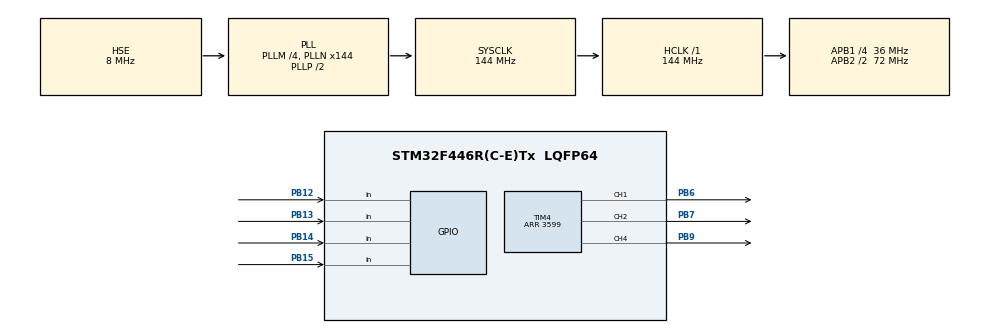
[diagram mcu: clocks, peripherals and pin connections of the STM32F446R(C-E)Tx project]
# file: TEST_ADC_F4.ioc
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Mcu.Family=STM32F4
Mcu.Name=STM32F446R(C-E)Tx
Mcu.Package=LQFP64
NVIC.PriorityGroup=NVIC_PRIORITYGROUP_4
PA13.Mode=Serial_Wire
PA13.Signal=SYS_JTMS-SWDIO
PA14.Mode=Serial_Wire
PA14.Signal=SYS_JTCK-SWCLK
PB12.Signal=GPIO_Input
PB13.Signal=GPIO_Input
PB14.Signal=GPIO_Input
PB15.Signal=GPIO_Input
PB6.Signal=S_TIM4_CH1
PB7.Signal=S_TIM4_CH2
PB9.Signal=S_TIM4_CH4
PH0-OSC_IN.Mode=HSE-External-Oscillator
PH0-OSC_IN.Signal=RCC_OSC_IN
PH1-OSC_OUT.Mode=HSE-External-Oscillator
PH1-OSC_OUT.Signal=RCC_OSC_OUT
ProjectManager.HeapSize=0x200
ProjectManager.StackSize=0x400
ProjectManager.TargetToolchain=CMake
RCC.AHBFreq_Value=144000000
RCC.APB1CLKDivider=RCC_HCLK_DIV4
RCC.APB1Freq_Value=36000000
RCC.APB1TimFreq_Value=72000000
RCC.APB2CLKDivider=RCC_HCLK_DIV2
RCC.APB2Freq_Value=72000000
RCC.APB2TimFreq_Value=144000000
RCC.CortexFreq_Value=144000000
RCC.HCLKFreq_Value=144000000
RCC.HSE_VALUE=8000000
RCC.PLLM=4
RCC.PLLN=144
RCC.PLLSourceVirtual=RCC_PLLSOURCE_HSE
RCC.SYSCLKFreq_VALUE=144000000
RCC.SYSCLKSource=RCC_SYSCLKSOURCE_PLLCLK
RCC.USBFreq_Value=144000000
RCC.VCOOutputFreq_Value=288000000
SH.S_TIM4_CH1.0=TIM4_CH1,PWM Generation1 CH1
SH.S_TIM4_CH2.0=TIM4_CH2,PWM Generation2 CH2
SH.S_TIM4_CH4.0=TIM4_CH4,Output Compare4 CH4
TIM2.AutoReloadPreload=TIM_AUTORELOAD_PRELOAD_ENABLE
TIM2.Channel-Output\ Compare2\ No\ Output=TIM_CHANNEL_2
TIM2.OCMode_2=TIM_OCMODE_TOGGLE
TIM2.Period=600
TIM2.TIM_MasterOutputTrigger=TIM_TRGO_OC2REF
TIM3.AutoReloadPreload=TIM_AUTORELOAD_PRELOAD_ENABLE
TIM3.Period=7199
TIM3.Prescaler=1098
TIM3.TIM_MasterOutputTrigger=TIM_TRGO_UPDATE
TIM4.AutoReloadPreload=TIM_AUTORELOAD_PRELOAD_ENABLE
TIM4.Channel-Output\ Compare4\ CH4=TIM_CHANNEL_4
TIM4.Channel-PWM\ Generation1\ CH1=TIM_CHANNEL_1
TIM4.Channel-PWM\ Generation2\ CH2=TIM_CHANNEL_2
TIM4.OC4Preload=ENABLE
TIM4.OCMode_4=TIM_OCMODE_TOGGLE
TIM4.OCPolarity_1=TIM_OCPOLARITY_LOW
TIM4.OCPolarity_2=TIM_OCPOLARITY_LOW
TIM4.OCPolarity_4=TIM_OCPOLARITY_LOW
TIM4.Period=3599
TIM4.Pulse-Output\ Compare4\ CH4=1
TIM4.Pulse-PWM\ Generation2\ CH2=1
TIM4.TIM_MasterOutputTrigger=TIM_TRGO_OC4REF
VP_TIM2_VS_ClockSourceINT.Mode=Internal
VP_TIM2_VS_ClockSourceITR.Mode=TriggerSource_ITR3
VP_TIM2_VS_ControllerModeTrigger.Mode=Trigger Mode
VP_TIM2_VS_OPM.Mode=OPM_bit
VP_TIM2_VS_no_output2.Mode=Output Compare2 No Output
VP_TIM3_VS_ClockSourceINT.Mode=Internal
VP_TIM4_VS_ClockSourceINT.Mode=Internal
VP_TIM4_VS_ClockSourceITR.Mode=TriggerSource_ITR2
VP_TIM4_VS_ControllerModeTrigger.Mode=Trigger Mode
VP_TIM4_VS_OPM.Mode=OPM_bit
board=custom

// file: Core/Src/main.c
/* USER CODE BEGIN Header */
/**
 ******************************************************************************
 * @file           : main.c
 * @brief          : Main program body
 ******************************************************************************
 * @attention
 *
 * Copyright (c) 2025 STMicroelectronics.
 * All rights reserved.
 *
 * This software is licensed under terms that can be found in the LICENSE file
 * in the root directory of this software component.
 * If no LICENSE file comes with this software, it is provided AS-IS.
 *
 ******************************************************************************
 */
/* USER CODE END Header */
#include "main.h"

/* USER CODE BEGIN PD */
#define ADC_CLOCK_SYNC_PCLK_DIV2 0;
/* USER CODE END PD */

TIM_HandleTypeDef htim2;
TIM_HandleTypeDef htim3;
TIM_HandleTypeDef htim4;

/* USER CODE BEGIN PV */
#define VREFINT_CAL_ADDR 0x1FFF7A2A
uint16_t VREFINT_CAL;
uint16_t vdda;
uint16_t frame[MAX_N_FRAMES * MAX_N_SAMPLES];
uint32_t sum;
uint8_t frame_8int_V[2 * MAX_N_SAMPLES * MAX_N_FRAMES + 4];

uint16_t n_samples = MAX_N_SAMPLES;
uint8_t i = 0;

volatile uint8_t uart5_dma_busy = 0;
volatile uint8_t RxData_i = 0;
volatile uint8_t RxData[256];
volatile uint8_t TxData[256];

uint8_t hello[] = {1, 2, 3, 4, 5, 6, 7, 8, 9};

const uint8_t last_0_1_us[10] = {
    0, 7, 14, 21, 28, 36, 43, 50, 57, 64};
const uint8_t last_0_01_us[10] = {
    0, 0, 1, 2, 2, 3, 4, 5, 5, 6};
/* USER CODE END PV */

void SystemClock_Config(void);
static void MX_GPIO_Init(void);
static void MX_TIM2_Init(void);
static void MX_TIM3_Init(void);
static void MX_TIM4_Init(void);

/* USER CODE BEGIN 0 */
void ADC_init(void)
{
  RCC->APB2ENR |= RCC_APB2ENR_ADC1EN | RCC_APB2ENR_ADC2EN;
  ADC->CCR |= ADC_CLOCK_SYNC_PCLK_DIV2;

  ADC1->CR1 = 0;
  ADC1->CR2 = 0;
  ADC2->CR1 = 0;
  ADC2->CR2 = 0;

  ADC1->SMPR1 = 0;
  ADC1->SMPR2 = 0;
  ADC2->SMPR1 = 0;
  ADC2->SMPR2 = 0;

  ADC1->SQR1 = 0;
  ADC1->SQR2 = 0;
  ADC1->SQR3 = 0;
  ADC2->SQR1 = 0;
  ADC2->SQR2 = 0;
  ADC2->SQR3 = 0;
  ADC2->SMPR1 = ADC_SMPR1_SMP10_2 | ADC_SMPR1_SMP11_2 | ADC_SMPR1_SMP12_2 | ADC_SMPR1_SMP13_2;
  ADC2->SMPR2 = ADC_SMPR2_SMP5_2 | ADC_SMPR2_SMP6_2 | ADC_SMPR2_SMP7_2 | ADC_SMPR2_SMP8_2 | ADC_SMPR2_SMP9_2;

  ADC->CCR |= ADC_CCR_TSVREFE;
  ADC1->CR2 |= ADC_CR2_EOCS;
  ADC2->CR2 |= ADC_CR2_EOCS;
}
void DMA_Init(void)
{
  RCC->AHB1ENR |= RCC_AHB1ENR_DMA2EN | RCC_AHB1ENR_DMA1EN;
  // DMA для ADC1
  DMA2_Stream0->PAR = ADC1_BASE + 0x4C;
  DMA2_Stream0->M0AR = (uint32_t)frame;
  DMA2_Stream0->NDTR = n_samples;
  DMA2_Stream0->CR = 0;

  DMA2_Stream0->CR |= DMA_PRIORITY_VERY_HIGH;
  DMA2_Stream0->FCR = 0;

  DMA2_Stream0->CR |= DMA_SxCR_MSIZE_0   // 16‑бит в памяти
                      | DMA_SxCR_PSIZE_0 // 16‑бит на периферии
                      | DMA_SxCR_MINC    // инкремент адреса памяти
                      | DMA_SxCR_TCIE;   // прерывание по завершению

  // DMA для UART5
  DMA1_Stream7->PAR = UART5_BASE + 0x04;
  DMA1_Stream7->FCR = 0;
  DMA1_Stream7->CR = DMA_SxCR_CHSEL_2 | DMA_SxCR_MINC | DMA_SxCR_TCIE | DMA_SxCR_DIR_0;

  NVIC_SetPriority(DMA2_Stream0_IRQn, 0);
  NVIC_SetPriority(DMA1_Stream7_IRQn, 0);

  NVIC_EnableIRQ(DMA2_Stream0_IRQn);
  NVIC_EnableIRQ(DMA1_Stream7_IRQn);
}
void UART5_Init(void)
{
  RCC->APB1ENR |= RCC_APB1ENR_UART5EN;
  UART5->CR1 |= USART_CR1_RE | USART_CR1_TE | USART_CR1_UE | USART_CR1_OVER8;
  UART5->CR3 |= USART_CR3_DMAT | USART_CR3_ONEBIT;
  UART5->BRR = 0x30;

  NVIC_SetPriority(UART5_IRQn, 2);
  NVIC_EnableIRQ(UART5_IRQn);
}

void MeasureVDD()
{
  ADC1->CR2 &= ~ADC_CR2_CONT;
  ADC1->SQR3 = 17;
  ADC1->CR1 &= ~3 << 24;
  ADC1->CR2 &= ~(ADC_CR2_EXTSEL_1 | ADC_CR2_EXTSEL_0);
  ADC1->DR;
  ADC1->SR = 0;
  // HAL_Delay(1);
  ADC1->CR2 |= ADC_CR2_SWSTART;
  while (!(ADC1->SR & ADC_SR_EOC))
    ;
  uint16_t raw_vrefint = ADC1->DR;
  vdda = (3300 * VREFINT_CAL) / raw_vrefint;

  ADC1->CR1 |= 1 << 24;
  ADC1->SQR3 = usRegHoldingBuf[2];
  ADC1->CR2 |= ADC_CR2_EXTSEL_1 | ADC_CR2_EXTSEL_0;
  ADC1->CR2 |= ADC_CR2_CONT;
  ADC1->SR = 0;
}
void PrepareADC()
{
  memset(frame, 0, MAX_N_FRAMES * MAX_N_SAMPLES);
  memset(frame_8int_V, 0, 2 * MAX_N_FRAMES * MAX_N_SAMPLES + 4);
  MeasureVDD();
  TIM2->ARR = 100;
}
uint16_t ReadChannel(uint8_t channel)
{
  ADC2->SQR3 = channel;
  ADC2->CR2 |= ADC_CR2_SWSTART;
  while (!(ADC2->SR & ADC_SR_EOC))
    ;
  return ADC2->DR;
}
void UpdateValuesMB()
{
  uint16_t idr = GPIOB->IDR;
  uint8_t new_bits =
      ((idr >> 12) & 0x01) << 0 | /* PB12 → bit0 */
      ((idr >> 13) & 0x01) << 1 | /* PB13 → bit1 */
      ((idr >> 14) & 0x01) << 2 | /* PB14 → bit2 */
      ((idr >> 15) & 0x01) << 3 | /* PB15 → bit3 */
      ((idr >> 4) & 0x01) << 4;   /* PB4  → bit4 */
  if ((usDiscreteBuf[0] & 0x1F) != new_bits)
  {
    usDiscreteBuf[0] = (usDiscreteBuf[0] & ~0x1F) | new_bits;
  }
  for (uint8_t i = 5; i < 14; i++)
  {
    sum = 0;
    for (uint8_t j = 0; j < 10; j++)
    {
      sum += ReadChannel(i);
    }
    usRegInputBuf[i - 5] = vdda * (sum / 10) / 0xFFF;
  }
}

void UART5_Transmit_DMA_Blocking(uint8_t *data, uint16_t size)
{

  while (uart5_dma_busy)
    ;
  DMA1_Stream7->CR &= ~DMA_SxCR_EN;
  while (DMA1_Stream7->CR & DMA_SxCR_EN)
    ;
  DMA1_Stream7->M0AR = (uint32_t)data;
  DMA1_Stream7->NDTR = size;
  uart5_dma_busy = 1;
  DMA1_Stream7->CR |= DMA_SxCR_EN;
  while (!(DMA1_Stream7->CR & DMA_SxCR_EN))
    ;
}
void UART5_ReceiveToIdle_IT()
{
  UART5->CR1 |= USART_CR1_RXNEIE;
}
void UART5_Transmition_Handler()
{
  if (RxData[0] == SLAVE_ID)
  {
    switch (RxData[1])
    {
    case 0x03:
      readHoldingRegs();
      break;
    case 0x04:
      UpdateValuesMB();
      readInputRegs();
      break;
    case 0x01:
      readCoils();
      break;
    case 0x02:
      readInputs();
      break;
    case 0x06:
      writeSingleReg();
      break;
    case 0x10:
      writeHoldingRegs();
      break;
    case 0x05:
      writeSingleCoil();
      break;
    case 0x0F:
      writeMultiCoils();
      break;
    default:
      modbusException(ILLEGAL_FUNCTION);
      break;
    }
  }
  RxData_i = 0;
}
/* USER CODE END 0 */

int main(void)
{

  /* MCU Configuration--------------------------------------------------------*/

  /* Reset of all peripherals, Initializes the Flash interface and the Systick. */
  HAL_Init();

  /* Configure the system clock */
  SystemClock_Config();

  /* Initialize all configured peripherals */
  MX_GPIO_Init();
  MX_TIM2_Init();
  MX_TIM3_Init();
  MX_TIM4_Init();
  /* USER CODE BEGIN 2 */
  VREFINT_CAL = *(uint16_t *)VREFINT_CAL_ADDR;
  DMA_Init();
  ADC_init();
  UART5_Init();
  ADC1->CR2 |= ADC_CR2_ADON;
  ADC2->CR2 |= ADC_CR2_ADON;
  HAL_Delay(1);

  // заупск таймера TIM2 + OC 2 CHANNEL
  TIM2->CNT = 0;
  TIM2->CCR2 = 1;
  TIM2->CCER |= TIM_CCER_CC2E;

  MeasureVDD();
  usRegHoldingBuf[0] = 100;
  usRegHoldingBuf[1] = 30;
  usCoilsBuf[0] = 1;
  usRegHoldingBuf[2] = 1;
  usRegHoldingBuf[3] = 4;
  usRegHoldingBuf[5] = 1;
  SetPulse();
  SetHZ();
  StartTimers();
  UART5_ReceiveToIdle_IT();
  /* USER CODE END 2 */

  /* Infinite loop */
  /* USER CODE BEGIN WHILE */
  while (1)
  {
    if (usCoilsBuf[0] & 0x02 && usCoilsBuf[0] & 0x01)
    {
      usDiscreteBuf[0] |= 0x20;
      while (usCoilsBuf[0] & 0x02 && usCoilsBuf[0] & 0x01)
      {
        i = 0;
        TIM2->CCR2 = 1;
        ADC1->CR2 &= ~ADC_CR2_DMA;
        DMA2_Stream0->CR &= ~DMA_SxCR_EN;
        while (DMA2_Stream0->CR & DMA_SxCR_EN)
          ;
        DMA2_Stream0->M0AR = (uint32_t)(frame);
        ADC1->SQR3 = usRegHoldingBuf[2];
        n_samples = usRegHoldingBuf[3];
        frame_8int_V[0] = 0xAA;
        frame_8int_V[1] = 0x55;
        frame_8int_V[2 * MAX_N_FRAMES * n_samples + 2] = 0x55;
        frame_8int_V[2 * MAX_N_FRAMES * n_samples + 3] = 0xAA;
        DMA2_Stream0->NDTR = n_samples;
        DMA2->LIFCR = DMA_LIFCR_CTCIF0 | DMA_LIFCR_CHTIF0 | DMA_LIFCR_CTEIF0;
        DMA2_Stream0->CR |= DMA_SxCR_EN;
        while (!(DMA2_Stream0->CR & DMA_SxCR_EN))
          ;
        ADC1->SR = 0;
        ADC1->CR2 |= ADC_CR2_DMA;
        ADC1->CR2 |= ADC_CR2_EXTEN;

        while (i < MAX_N_FRAMES && usCoilsBuf[0] & 0x02 && usCoilsBuf[0] & 0x01)
          ;
        if (usCoilsBuf[0] & 0x02 && usCoilsBuf[0] & 0x01)
        {
          for (uint16_t i = 0; i < MAX_N_FRAMES * n_samples; i++)
          {
            uint16_t word = vdda * frame[i] / 1024;
            frame_8int_V[2 + 2 * i] = (uint8_t)(word & 0xFF);
            frame_8int_V[2 + 2 * i + 1] = (uint8_t)((word >> 8) & 0xFF);
          }
          UART5_Transmit_DMA_Blocking(frame_8int_V, 2 * MAX_N_FRAMES * n_samples + 4);
        }
      }
      usDiscreteBuf[0] &= ~0x20;
    }
  }
  /* USER CODE END WHILE */

}

void SystemClock_Config(void)
{
  RCC_OscInitTypeDef RCC_OscInitStruct = {0};
  RCC_ClkInitTypeDef RCC_ClkInitStruct = {0};

  /** Configure the main internal regulator output voltage
   */
  __HAL_RCC_PWR_CLK_ENABLE();
  __HAL_PWR_VOLTAGESCALING_CONFIG(PWR_REGULATOR_VOLTAGE_SCALE1);

  /** Initializes the RCC Oscillators according to the specified parameters
   * in the RCC_OscInitTypeDef structure.
   */
  RCC_OscInitStruct.OscillatorType = RCC_OSCILLATORTYPE_HSE;
  RCC_OscInitStruct.HSEState = RCC_HSE_ON;
  RCC_OscInitStruct.PLL.PLLState = RCC_PLL_ON;
  RCC_OscInitStruct.PLL.PLLSource = RCC_PLLSOURCE_HSE;
  RCC_OscInitStruct.PLL.PLLM = 4;
  RCC_OscInitStruct.PLL.PLLN = 144;
  RCC_OscInitStruct.PLL.PLLP = RCC_PLLP_DIV2;
  RCC_OscInitStruct.PLL.PLLQ = 2;
  RCC_OscInitStruct.PLL.PLLR = 2;
  if (HAL_RCC_OscConfig(&RCC_OscInitStruct) != HAL_OK)
  {
    Error_Handler();
  }

  /** Initializes the CPU, AHB and APB buses clocks
   */
  RCC_ClkInitStruct.ClockType = RCC_CLOCKTYPE_HCLK | RCC_CLOCKTYPE_SYSCLK | RCC_CLOCKTYPE_PCLK1 | RCC_CLOCKTYPE_PCLK2;
  RCC_ClkInitStruct.SYSCLKSource = RCC_SYSCLKSOURCE_PLLCLK;
  RCC_ClkInitStruct.AHBCLKDivider = RCC_SYSCLK_DIV1;
  RCC_ClkInitStruct.APB1CLKDivider = RCC_HCLK_DIV4;
  RCC_ClkInitStruct.APB2CLKDivider = RCC_HCLK_DIV2;

  if (HAL_RCC_ClockConfig(&RCC_ClkInitStruct, FLASH_LATENCY_4) != HAL_OK)
  {
    Error_Handler();
  }
}

static void MX_TIM2_Init(void)
{

  TIM_ClockConfigTypeDef sClockSourceConfig = {0};
  TIM_SlaveConfigTypeDef sSlaveConfig = {0};
  TIM_MasterConfigTypeDef sMasterConfig = {0};
  TIM_OC_InitTypeDef sConfigOC = {0};

  htim2.Instance = TIM2;
  htim2.Init.Prescaler = 0;
  htim2.Init.CounterMode = TIM_COUNTERMODE_UP;
  htim2.Init.Period = 600;
  htim2.Init.ClockDivision = TIM_CLOCKDIVISION_DIV1;
  htim2.Init.AutoReloadPreload = TIM_AUTORELOAD_PRELOAD_ENABLE;
  if (HAL_TIM_Base_Init(&htim2) != HAL_OK)
  {
    Error_Handler();
  }
  sClockSourceConfig.ClockSource = TIM_CLOCKSOURCE_INTERNAL;
  if (HAL_TIM_ConfigClockSource(&htim2, &sClockSourceConfig) != HAL_OK)
  {
    Error_Handler();
  }
  if (HAL_TIM_OC_Init(&htim2) != HAL_OK)
  {
    Error_Handler();
  }
  if (HAL_TIM_OnePulse_Init(&htim2, TIM_OPMODE_SINGLE) != HAL_OK)
  {
    Error_Handler();
  }
  sSlaveConfig.SlaveMode = TIM_SLAVEMODE_TRIGGER;
  sSlaveConfig.InputTrigger = TIM_TS_ITR3;
  if (HAL_TIM_SlaveConfigSynchro(&htim2, &sSlaveConfig) != HAL_OK)
  {
    Error_Handler();
  }
  sMasterConfig.MasterOutputTrigger = TIM_TRGO_OC2REF;
  sMasterConfig.MasterSlaveMode = TIM_MASTERSLAVEMODE_DISABLE;
  if (HAL_TIMEx_MasterConfigSynchronization(&htim2, &sMasterConfig) != HAL_OK)
  {
    Error_Handler();
  }
  sConfigOC.OCMode = TIM_OCMODE_TOGGLE;
  sConfigOC.Pulse = 0;
  sConfigOC.OCPolarity = TIM_OCPOLARITY_HIGH;
  sConfigOC.OCFastMode = TIM_OCFAST_DISABLE;
  if (HAL_TIM_OC_ConfigChannel(&htim2, &sConfigOC, TIM_CHANNEL_2) != HAL_OK)
  {
    Error_Handler();
  }
}

static void MX_TIM3_Init(void)
{

  TIM_ClockConfigTypeDef sClockSourceConfig = {0};
  TIM_MasterConfigTypeDef sMasterConfig = {0};

  htim3.Instance = TIM3;
  htim3.Init.Prescaler = 1098;
  htim3.Init.CounterMode = TIM_COUNTERMODE_UP;
  htim3.Init.Period = 7199;
  htim3.Init.ClockDivision = TIM_CLOCKDIVISION_DIV1;
  htim3.Init.AutoReloadPreload = TIM_AUTORELOAD_PRELOAD_ENABLE;
  if (HAL_TIM_Base_Init(&htim3) != HAL_OK)
  {
    Error_Handler();
  }
  sClockSourceConfig.ClockSource = TIM_CLOCKSOURCE_INTERNAL;
  if (HAL_TIM_ConfigClockSource(&htim3, &sClockSourceConfig) != HAL_OK)
  {
    Error_Handler();
  }
  sMasterConfig.MasterOutputTrigger = TIM_TRGO_UPDATE;
  sMasterConfig.MasterSlaveMode = TIM_MASTERSLAVEMODE_DISABLE;
  if (HAL_TIMEx_MasterConfigSynchronization(&htim3, &sMasterConfig) != HAL_OK)
  {
    Error_Handler();
  }
}

static void MX_TIM4_Init(void)
{

  TIM_ClockConfigTypeDef sClockSourceConfig = {0};
  TIM_SlaveConfigTypeDef sSlaveConfig = {0};
  TIM_MasterConfigTypeDef sMasterConfig = {0};
  TIM_OC_InitTypeDef sConfigOC = {0};

  htim4.Instance = TIM4;
  htim4.Init.Prescaler = 0;
  htim4.Init.CounterMode = TIM_COUNTERMODE_UP;
  htim4.Init.Period = 3599;
  htim4.Init.ClockDivision = TIM_CLOCKDIVISION_DIV1;
  htim4.Init.AutoReloadPreload = TIM_AUTORELOAD_PRELOAD_ENABLE;
  if (HAL_TIM_Base_Init(&htim4) != HAL_OK)
  {
    Error_Handler();
  }
  sClockSourceConfig.ClockSource = TIM_CLOCKSOURCE_INTERNAL;
  if (HAL_TIM_ConfigClockSource(&htim4, &sClockSourceConfig) != HAL_OK)
  {
    Error_Handler();
  }
  if (HAL_TIM_PWM_Init(&htim4) != HAL_OK)
  {
    Error_Handler();
  }
  if (HAL_TIM_OC_Init(&htim4) != HAL_OK)
  {
    Error_Handler();
  }
  if (HAL_TIM_OnePulse_Init(&htim4, TIM_OPMODE_SINGLE) != HAL_OK)
  {
    Error_Handler();
  }
  sSlaveConfig.SlaveMode = TIM_SLAVEMODE_TRIGGER;
  sSlaveConfig.InputTrigger = TIM_TS_ITR2;
  if (HAL_TIM_SlaveConfigSynchro(&htim4, &sSlaveConfig) != HAL_OK)
  {
    Error_Handler();
  }
  sMasterConfig.MasterOutputTrigger = TIM_TRGO_OC4REF;
  sMasterConfig.MasterSlaveMode = TIM_MASTERSLAVEMODE_DISABLE;
  if (HAL_TIMEx_MasterConfigSynchronization(&htim4, &sMasterConfig) != HAL_OK)
  {
    Error_Handler();
  }
  sConfigOC.OCMode = TIM_OCMODE_PWM1;
  sConfigOC.Pulse = 0;
  sConfigOC.OCPolarity = TIM_OCPOLARITY_LOW;
  sConfigOC.OCFastMode = TIM_OCFAST_DISABLE;
  if (HAL_TIM_PWM_ConfigChannel(&htim4, &sConfigOC, TIM_CHANNEL_1) != HAL_OK)
  {
    Error_Handler();
  }
  sConfigOC.Pulse = 1;
  if (HAL_TIM_PWM_ConfigChannel(&htim4, &sConfigOC, TIM_CHANNEL_2) != HAL_OK)
  {
    Error_Handler();
  }
  sConfigOC.OCMode = TIM_OCMODE_TOGGLE;
  if (HAL_TIM_OC_ConfigChannel(&htim4, &sConfigOC, TIM_CHANNEL_4) != HAL_OK)
  {
    Error_Handler();
  }
  __HAL_TIM_ENABLE_OCxPRELOAD(&htim4, TIM_CHANNEL_4);
  HAL_TIM_MspPostInit(&htim4);
}

static void MX_GPIO_Init(void)
{
  GPIO_InitTypeDef GPIO_InitStruct = {0};
  /* USER CODE BEGIN MX_GPIO_Init_1 */
  __HAL_RCC_GPIOC_CLK_ENABLE();
  __HAL_RCC_GPIOD_CLK_ENABLE();
  /* USER CODE END MX_GPIO_Init_1 */

  /* GPIO Ports Clock Enable */
  __HAL_RCC_GPIOH_CLK_ENABLE();
  __HAL_RCC_GPIOB_CLK_ENABLE();
  __HAL_RCC_GPIOA_CLK_ENABLE();

  /*Configure GPIO pins : PB12 PB13 PB14 PB15 */
  GPIO_InitStruct.Pin = GPIO_PIN_12 | GPIO_PIN_13 | GPIO_PIN_14 | GPIO_PIN_15;
  GPIO_InitStruct.Mode = GPIO_MODE_INPUT;
  GPIO_InitStruct.Pull = GPIO_NOPULL;
  HAL_GPIO_Init(GPIOB, &GPIO_InitStruct);

  /* USER CODE BEGIN MX_GPIO_Init_2 */
  GPIO_InitTypeDef GPIO_Init = {0};
  GPIO_Init.Pin = GPIO_PIN_1 | GPIO_PIN_0;
  GPIO_Init.Mode = GPIO_MODE_ANALOG;
  GPIO_Init.Pull = GPIO_NOPULL;
  GPIO_Init.Speed = GPIO_SPEED_FREQ_LOW;
  HAL_GPIO_Init(GPIOB, &GPIO_Init);

  GPIO_Init.Pin = GPIO_PIN_1 | GPIO_PIN_2 | GPIO_PIN_3 | GPIO_PIN_4 | GPIO_PIN_5 | GPIO_PIN_6 | GPIO_PIN_7;
  HAL_GPIO_Init(GPIOA, &GPIO_Init);
  GPIO_Init.Pin = GPIO_PIN_0 | GPIO_PIN_1 | GPIO_PIN_2 | GPIO_PIN_3 | GPIO_PIN_4;
  HAL_GPIO_Init(GPIOC, &GPIO_Init);

  // Настройка UART5 TX (PC12)
  GPIO_Init.Pin = GPIO_PIN_12;
  GPIO_Init.Mode = GPIO_MODE_AF_PP;
  GPIO_Init.Pull = GPIO_NOPULL;
  GPIO_Init.Speed = GPIO_SPEED_FREQ_HIGH;
  GPIO_Init.Alternate = GPIO_AF8_UART5;
  HAL_GPIO_Init(GPIOC, &GPIO_Init);

  // Настройка UART5 RX (PD2)
  GPIO_Init.Pin = GPIO_PIN_2;
  GPIO_Init.Mode = GPIO_MODE_AF_PP;
  GPIO_Init.Pull = GPIO_NOPULL;
  GPIO_Init.Speed = GPIO_SPEED_FREQ_HIGH;
  GPIO_Init.Alternate = GPIO_AF8_UART5;
  HAL_GPIO_Init(GPIOD, &GPIO_Init);

  /* USER CODE END MX_GPIO_Init_2 */
}

/* USER CODE BEGIN 4 */
void SetHZ()
{
  htim3.Instance->CNT = 0;
  htim3.Instance->PSC = 1099 / usRegHoldingBuf[0];
  htim3.Instance->ARR = (72 * 1000000 / (1099 / usRegHoldingBuf[0] + 1)) / usRegHoldingBuf[0];
}
void SetPulse()
{
  uint16_t shift = usRegHoldingBuf[4];
  htim4.Instance->CCR1 = htim4.Instance->ARR - 72 * (usRegHoldingBuf[1] / 10) - 7 * (usRegHoldingBuf[1] % 10);
  htim4.Instance->CCR4 = htim4.Instance->ARR - 72 * (usRegHoldingBuf[1] / 10) - 7 * (usRegHoldingBuf[1] % 10);
  htim4.Instance->CCR4 -= 72 * (shift / 100);
  htim4.Instance->CCR4 -= last_0_1_us[((shift % 100) / 10)];
  htim4.Instance->CCR4 -= last_0_01_us[shift % 10];
}
void StopTimers()
{
  htim3.Instance->CR1 &= ~TIM_CR1_CEN;
  htim4.Instance->CCER &= ~TIM_CCER_CC1E;
  htim4.Instance->CCER &= ~TIM_CCER_CC4E;
  htim4.Instance->CCER &= ~TIM_CCER_CC2E;
}
void StartTimers()
{
  htim3.Instance->CR1 |= TIM_CR1_CEN;
  htim4.Instance->CCER |= TIM_CCER_CC1E;
  htim4.Instance->CCER |= TIM_CCER_CC4E;
  htim4.Instance->CCER |= TIM_CCER_CC2E;
}
/* USER CODE END 4 */

void Error_Handler(void)
{
  __disable_irq();
  while (1)
  {
  }
}
